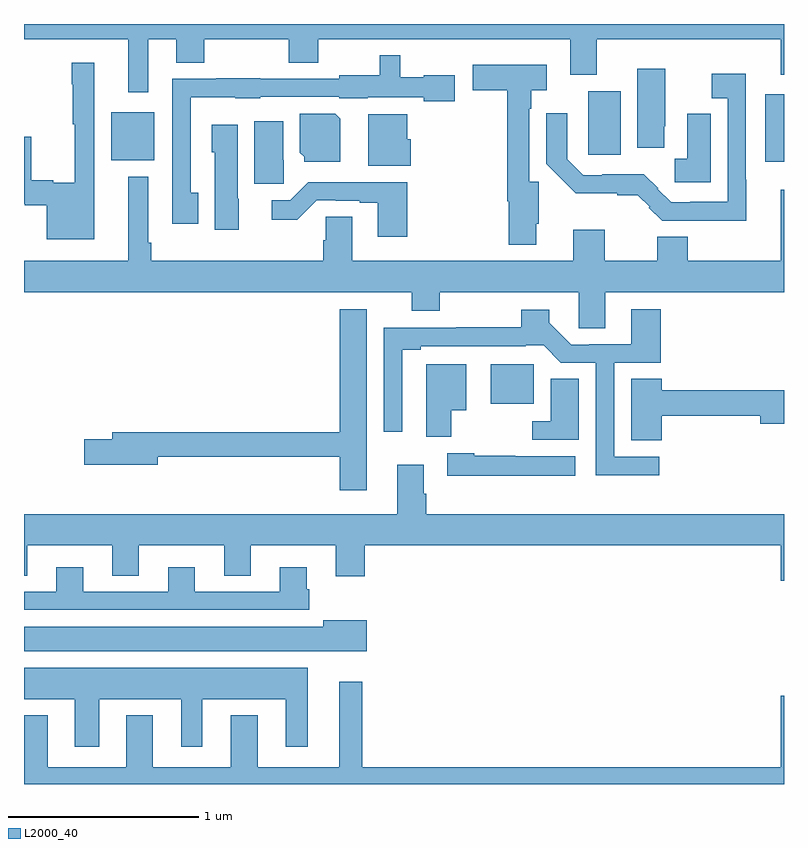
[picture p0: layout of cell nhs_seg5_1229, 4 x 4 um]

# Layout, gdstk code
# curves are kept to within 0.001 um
import gdstk
lib = gdstk.Library(unit=1e-6, precision=1e-09)
def R(c, l, rs):  # rectangles x0, y0, x1, y1
    for r in rs: c.add(gdstk.rectangle(r[:2], r[2:], *l))
def P(c, l, *ps):  # polygons
    for p in ps: c.add(gdstk.Polygon(p, *l))
L2000_40 = (2000, 40)

nhs_seg5_1229 = lib.new_cell('nhs_seg5_1229')
R(nhs_seg5_1229, L2000_40, [(187.457,894.8,187.684,895.009), (188.9,896.075,189,896.428), (185.459,896.081,185.686,896.335), (187.97,896.112,188.14,896.446)])
P(nhs_seg5_1229, L2000_40, [(185.653,896.72),(185.801,896.72),(185.801,896.596),(185.949,896.596),(185.949,896.72),(186.394,896.72),(186.394,896.596),(186.549,896.596),(186.549,896.72),(187.874,896.72),(187.874,896.531),(188.014,896.531),(188.014,896.72),(188.984,896.72),(188.984,896.532),(189,896.532),(189,896.799),(185,896.799),(185,896.72),(185.549,896.72),(185.549,896.439),(185.653,896.439)],
  [(185.917,895.91),(185.877,895.91),(185.877,896.414),(186.111,896.414),(186.111,896.408),(186.243,896.408),(186.243,896.415),(186.66,896.415),(186.66,896.408),(186.81,896.408),(186.81,896.414),(187.104,896.414),(187.104,896.393),(187.267,896.393),(187.267,896.53),(187.104,896.53),(187.104,896.519),(186.981,896.519),(186.981,896.635),(186.873,896.635),(186.873,896.53),(186.66,896.53),(186.66,896.511),(186.243,896.511),(186.243,896.513),(186.011,896.513),(186.011,896.511),(185.781,896.511),(185.781,895.749),(185.917,895.749)],
  [(185.371,896.596),(185.25,896.596),(185.25,896.483),(185.257,896.483),(185.257,896.271),(185.267,896.271),(185.267,895.963),(185.153,895.963),(185.153,895.976),(185.038,895.976),(185.038,896.206),(185,896.206),(185,895.853),(185.004,895.853),(185.004,895.846),(185.12,895.846),(185.12,895.667),(185.371,895.667)],
  [(187.696,895.747),(187.709,895.747),(187.709,895.968),(187.659,895.968),(187.659,896.354),(187.671,896.354),(187.671,896.45),(187.75,896.45),(187.75,896.584),(187.362,896.584),(187.362,896.45),(187.543,896.45),(187.543,895.865),(187.55,895.865),(187.55,895.637),(187.696,895.637)],
  [(188.37,896.26),(188.374,896.26),(188.374,896.563),(188.228,896.563),(188.228,896.149),(188.37,896.149)],
  [(188.801,895.979),(188.799,895.979),(188.799,896.536),(188.62,896.536),(188.62,896.408),(188.703,896.408),(188.703,895.864),(188.506,895.864),(188.506,895.86),(188.406,895.86),(188.334,895.932),(188.337,895.935),(188.263,896.009),(188.044,896.009),(188.044,896.004),(187.944,896.004),(187.86,896.088),(187.86,896.329),(187.748,896.329),(187.748,896.064),(187.903,895.907),(188.123,895.907),(188.123,895.899),(188.231,895.899),(188.293,895.837),(188.289,895.833),(188.359,895.763),(188.801,895.763)],
  [(188.614,896.327),(188.492,896.327),(188.492,896.089),(188.425,896.089),(188.425,895.966),(188.614,895.966)],
  [(186.664,896.3),(186.638,896.326),(186.452,896.326),(186.452,896.122),(186.474,896.1),(186.474,896.075),(186.664,896.075)],
  [(187.036,896.193),(187.018,896.193),(187.018,896.324),(186.812,896.324),(186.812,896.054),(187.036,896.054)],
  [(186.368,896.082),(186.364,896.082),(186.364,896.287),(186.212,896.287),(186.212,895.959),(186.368,895.959)],
  [(186.13,895.878),(186.124,895.878),(186.124,896.269),(185.987,896.269),(185.987,896.124),(186.005,896.124),(186.005,895.716),(186.13,895.716)],
  [(188.059,895.388),(189,895.388),(189,895.927),(188.984,895.927),(188.984,895.552),(188.494,895.552),(188.494,895.678),(188.333,895.678),(188.333,895.552),(188.056,895.552),(188.056,895.717),(187.892,895.717),(187.892,895.552),(186.727,895.552),(186.727,895.784),(186.588,895.784),(186.588,895.662),(186.575,895.662),(186.575,895.552),(185.671,895.552),(185.671,895.648),(185.653,895.648),(185.653,895.996),(185.549,895.996),(185.549,895.552),(185,895.552),(185,895.388),(187.04,895.388),(187.04,895.289),(187.188,895.289),(187.188,895.388),(187.92,895.388),(187.92,895.198),(188.059,895.198)],
  [(187.016,895.966),(186.496,895.966),(186.402,895.872),(186.303,895.872),(186.303,895.77),(186.438,895.77),(186.54,895.872),(186.64,895.872),(186.64,895.869),(186.767,895.869),(186.767,895.857),(186.863,895.857),(186.863,895.68),(187.016,895.68)],
  [(188.344,894.522),(188.106,894.522),(188.106,895.017),(188.351,895.017),(188.351,895.297),(188.195,895.297),(188.195,895.113),(187.975,895.113),(187.975,895.11),(187.881,895.11),(187.765,895.226),(187.765,895.294),(187.618,895.294),(187.618,895.202),(187.276,895.202),(187.276,895.2),(186.894,895.2),(186.894,894.654),(186.99,894.654),(186.99,895.084),(187.087,895.084),(187.087,895.104),(187.64,895.104),(187.64,895.107),(187.736,895.107),(187.826,895.017),(188.01,895.017),(188.01,894.425),(188.344,894.425)],
  [(186.805,895.297),(186.662,895.297),(186.662,894.65),(185.465,894.65),(185.465,894.614),(185.316,894.614),(185.316,894.479),(185.704,894.479),(185.704,894.522),(186.662,894.522),(186.662,894.345),(186.805,894.345)],
  [(187.248,894.767),(187.327,894.767),(187.327,895.009),(187.118,895.009),(187.118,894.626),(187.248,894.626)],
  [(187.921,894.932),(187.772,894.932),(187.772,894.708),(187.674,894.708),(187.674,894.612),(187.921,894.612)],
  [(188.356,894.736),(188.876,894.736),(188.876,894.694),(189,894.694),(189,894.872),(188.356,894.872),(188.356,894.932),(188.195,894.932),(188.195,894.607),(188.356,894.607)],
  [(187.9,894.523),(187.586,894.523),(187.586,894.526),(187.371,894.526),(187.371,894.541),(187.227,894.541),(187.227,894.422),(187.9,894.422)],
  [(189,894.22),(187.118,894.22),(187.118,894.326),(187.105,894.326),(187.105,894.478),(186.965,894.478),(186.965,894.22),(185,894.22),(185,893.896),(185.017,893.896),(185.017,894.056),(185.465,894.056),(185.465,893.896),(185.605,893.896),(185.605,894.056),(186.053,894.056),(186.053,893.896),(186.193,893.896),(186.193,894.056),(186.641,894.056),(186.641,893.892),(186.794,893.892),(186.794,894.056),(188.984,894.056),(188.984,893.868),(189,893.868)],
  [(186.5,893.823),(186.487,893.823),(186.487,893.941),(186.347,893.941),(186.347,893.811),(185.899,893.811),(185.899,893.941),(185.759,893.941),(185.759,893.811),(185.311,893.811),(185.311,893.941),(185.171,893.941),(185.171,893.811),(185,893.811),(185,893.715),(186.5,893.715)],
  [(186.805,893.662),(186.575,893.662),(186.575,893.626),(185,893.626),(185,893.498),(186.805,893.498)],
  [(185.395,893.246),(185.828,893.246),(185.828,892.995),(185.938,892.995),(185.938,893.246),(186.377,893.246),(186.377,892.995),(186.493,892.995),(186.493,893.41),(185,893.41),(185,893.246),(185.267,893.246),(185.267,892.995),(185.395,892.995)],
  [(189,893.263),(188.984,893.263),(188.984,892.888),(186.781,892.888),(186.781,893.338),(186.659,893.338),(186.659,892.888),(186.229,892.888),(186.229,893.161),(186.089,893.161),(186.089,892.888),(185.677,892.888),(185.677,893.161),(185.537,893.161),(185.537,892.888),(185.125,892.888),(185.125,893.161),(185,893.161),(185,892.799),(189,892.799)])

lib.write_gds('nhs_seg5_1229.gds')
